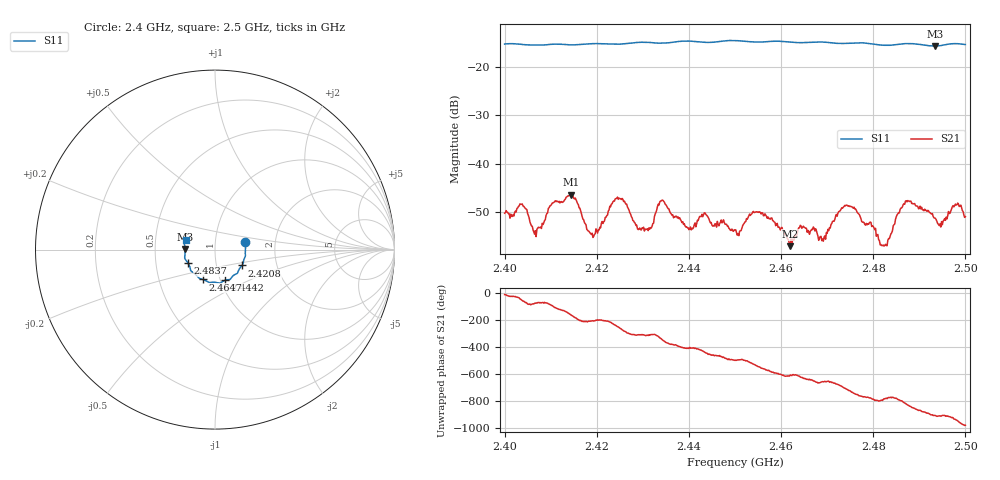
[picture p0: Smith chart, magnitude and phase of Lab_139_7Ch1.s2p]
# Hz S RI R 50
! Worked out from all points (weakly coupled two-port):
!   601 points, 2.4 GHz to 2.5 GHz, reference 50 ohm
!   highest |S21| = -46.41 dB at 2.4145 GHz (marker M1); lowest = -57.0 dB at 2.462 GHz (marker M2)
!   lowest |S11| = -15.6 dB at 2.4935 GHz (marker M3), VSWR 1.40, Z = 35.8 + j0.198 ohm
!   |S11| at or under -10 dB: start of sweep to end of sweep
!   S12 and S22 are empty: the file has one direction only
!   S11 on the Smith chart (normalised r, x): 2.4 GHz: 1.40, +0.12; 2.4208 GHz: 1.33, -0.24; 2.4442 GHz: 1.05, -0.37; 2.4647 GHz: 0.83, -0.29; 2.4837 GHz: 0.73, -0.11; 2.5 GHz: 0.72, +0.08
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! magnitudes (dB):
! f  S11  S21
! 2.4 GHz  -15.2  -50.2
! 2.4038 GHz  -15.3  -48.3
! 2.4067 GHz  -15.4  -53.8
! 2.4145 GHz  -15.4  -46.4
! 2.4167 GHz  -15.3  -50.3
! 2.4208 GHz  -15.1  -53.2
! 2.4245 GHz  -15.2  -46.9
! 2.4293 GHz  -14.8  -53.3
! 2.4333 GHz  -15.0  -48.4
! 2.4442 GHz  -14.9  -51.1
! 2.45 GHz  -14.5  -53.7
! 2.455 GHz  -14.8  -49.9
! 2.462 GHz  -14.8  -57.0
! 2.4647 GHz  -14.9  -53.1
! 2.4667 GHz  -14.8  -53.5
! 2.4692 GHz  -14.8  -56.0
! 2.4743 GHz  -15.1  -48.6
! 2.4833 GHz  -15.5  -55.5
! 2.4837 GHz  -15.5  -55.0
! 2.4875 GHz  -15.1  -47.6
! 2.4935 GHz  -15.6  -51.3
! 2.5 GHz  -15.3  -50.9
